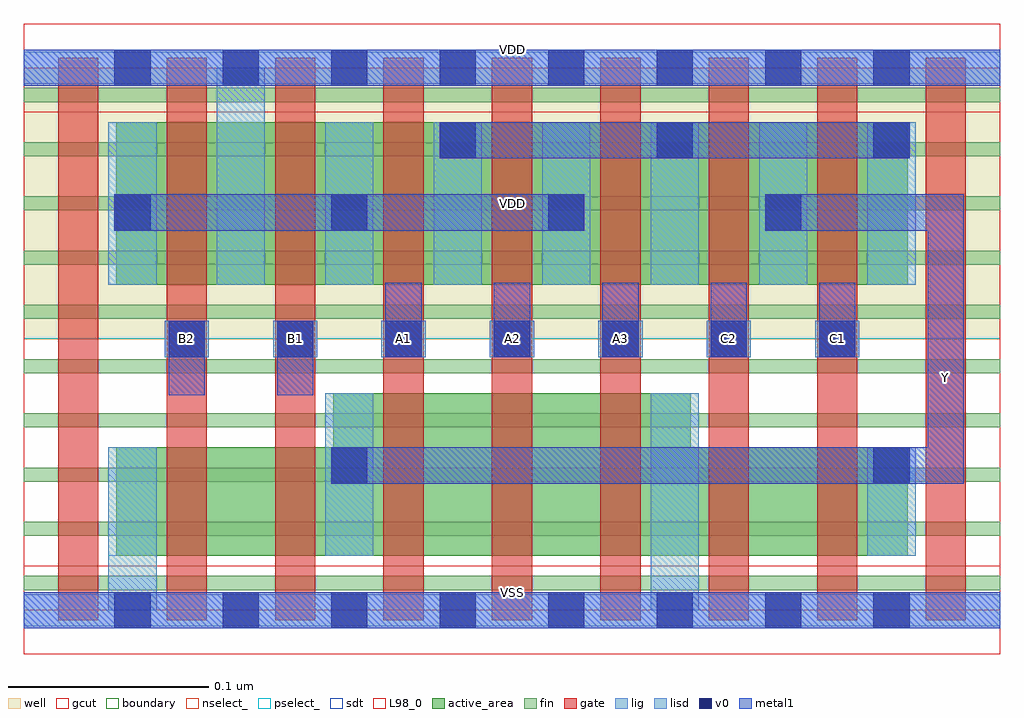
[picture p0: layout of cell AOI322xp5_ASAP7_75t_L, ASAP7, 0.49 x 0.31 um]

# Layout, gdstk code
import gdstk
lib = gdstk.Library(unit=1e-6, precision=2.5e-10)
def R(c, l, rs):  # rectangles x0, y0, x1, y1
    for r in rs: c.add(gdstk.rectangle(r[:2], r[2:], *l))
def A(c, l, x, y, w, h, nx, ny, dx, dy):  # array of equal rectangles
    R(c, l, [(x+i*dx, y+j*dy, x+i*dx+w, y+j*dy+h) for i in range(nx) for j in range(ny)])
def P(c, l, *ps):  # polygons
    for p in ps: c.add(gdstk.Polygon(p, *l))
well = (1, 0)
fin = (2, 0)
gate = (7, 0)
gcut = (10, 0)
active_area = (11, 0)
nselect_ = (12, 0)
pselect_ = (13, 0)
lig = (16, 0)
lisd = (17, 0)
v0 = (18, 0)
metal1 = (19, 0)
sdt = (88, 0)
L98_0 = (98, 0)
boundary = (100, 0)

aoi322xp5_asap7_75t_l = lib.new_cell('AOI322xp5_ASAP7_75t_L')
R(aoi322xp5_asap7_75t_l, well, [(0,0.135,0.486,0.27)])
A(aoi322xp5_asap7_75t_l, fin, 0, 0.01, 0.486, 0.007, 1, 10, 0, 0.027)
A(aoi322xp5_asap7_75t_l, gate, 0.017, -0.005, 0.02, 0.28, 9, 1, 0.054, 0)
R(aoi322xp5_asap7_75t_l, gcut, [(0,-0.022,0.486,0.022), (0,0.248,0.486,0.292)])
R(aoi322xp5_asap7_75t_l, active_area, [(0.046,0.162,0.44,0.243)])
P(aoi322xp5_asap7_75t_l, active_area, [(0.332,0.108),(0.154,0.108),(0.154,0.081),(0.046,0.081),(0.046,0.027),(0.44,0.027),(0.44,0.081),(0.332,0.081)])
R(aoi322xp5_asap7_75t_l, nselect_, [(0,0,0.486,0.135)])
R(aoi322xp5_asap7_75t_l, pselect_, [(0,0.135,0.486,0.27)])
A(aoi322xp5_asap7_75t_l, lig, 0.07, 0.126, 0.022, 0.018, 7, 1, 0.054, 0)
R(aoi322xp5_asap7_75t_l, lig, [(0,-0.008,0.486,0.008), (0,0.262,0.486,0.278)])
A(aoi322xp5_asap7_75t_l, lisd, 0.15, 0.162, 0.024, 0.081, 6, 1, 0.054, 0)
R(aoi322xp5_asap7_75t_l, lisd, [(0.042,0,0.066,0.081), (0.042,0,0.066,0.081), (0.312,0,0.336,0.108), (0.312,0,0.336,0.108), (0.15,0.027,0.174,0.108), (0.42,0.027,0.444,0.081), (0.042,0.162,0.066,0.243), (0.096,0.162,0.12,0.27), (0.096,0.162,0.12,0.27)])
A(aoi322xp5_asap7_75t_l, v0, 0.045, -0.009, 0.018, 0.018, 8, 2, 0.054, 0.27)
A(aoi322xp5_asap7_75t_l, v0, 0.072, 0.126, 0.018, 0.018, 7, 1, 0.054, 0)
A(aoi322xp5_asap7_75t_l, v0, 0.045, 0.189, 0.018, 0.018, 4, 1, 0.108, 0)
A(aoi322xp5_asap7_75t_l, v0, 0.207, 0.225, 0.018, 0.018, 3, 1, 0.108, 0)
R(aoi322xp5_asap7_75t_l, v0, [(0.153,0.063,0.171,0.081), (0.423,0.063,0.441,0.081)])
A(aoi322xp5_asap7_75t_l, metal1, 0.072, 0.126, 0.018, 0.018, 7, 1, 0.054, 0)
A(aoi322xp5_asap7_75t_l, metal1, 0.18, 0.126, 0.018, 0.037, 5, 1, 0.054, 0)
A(aoi322xp5_asap7_75t_l, metal1, 0.045, 0.189, 0.018, 0.018, 4, 1, 0.108, 0)
A(aoi322xp5_asap7_75t_l, metal1, 0.207, 0.225, 0.018, 0.018, 3, 1, 0.108, 0)
R(aoi322xp5_asap7_75t_l, metal1, [(0,-0.009,0.486,0.009), (0.153,0.063,0.171,0.081), (0.423,0.063,0.441,0.081), (0.072,0.107,0.09,0.144), (0.126,0.107,0.144,0.144), (0.045,0.189,0.279,0.207), (0.207,0.225,0.441,0.243), (0,0.261,0.486,0.279)])
P(aoi322xp5_asap7_75t_l, metal1, [(0.369,0.207),(0.369,0.189),(0.45,0.189),(0.45,0.081),(0.153,0.081),(0.153,0.063),(0.468,0.063),(0.468,0.207)])
A(aoi322xp5_asap7_75t_l, sdt, 0.096, 0.162, 0.024, 0.081, 7, 1, 0.054, 0)
R(aoi322xp5_asap7_75t_l, sdt, [(0.042,0.027,0.066,0.081), (0.042,0.027,0.066,0.081), (0.15,0.027,0.174,0.108), (0.312,0.027,0.336,0.108), (0.312,0.027,0.336,0.108), (0.42,0.027,0.444,0.081), (0.042,0.162,0.066,0.243), (0.096,0.162,0.12,0.243)])
R(aoi322xp5_asap7_75t_l, L98_0, [(0,0,0.486,0.27)])
R(aoi322xp5_asap7_75t_l, boundary, [(0,0,0.486,0.27)])
aoi322xp5_asap7_75t_l.add(gdstk.Label('VDD', (0.243,0.2025), layer=1, texttype=251))
aoi322xp5_asap7_75t_l.add(gdstk.Label('VSS', (0.243,-0.0675), layer=3, texttype=251))
aoi322xp5_asap7_75t_l.add(gdstk.Label('VSS', (0.243,0.009), layer=19, texttype=251))
aoi322xp5_asap7_75t_l.add(gdstk.Label('VDD', (0.243,0.279), layer=19, texttype=251))
aoi322xp5_asap7_75t_l.add(gdstk.Label('B2', (0.081,0.135), layer=19, texttype=251))
aoi322xp5_asap7_75t_l.add(gdstk.Label('B1', (0.135,0.135), layer=19, texttype=251))
aoi322xp5_asap7_75t_l.add(gdstk.Label('Y', (0.459,0.116), layer=19, texttype=251))
aoi322xp5_asap7_75t_l.add(gdstk.Label('A1', (0.189,0.135), layer=19, texttype=251))
aoi322xp5_asap7_75t_l.add(gdstk.Label('A2', (0.243,0.135), layer=19, texttype=251))
aoi322xp5_asap7_75t_l.add(gdstk.Label('A3', (0.297,0.135), layer=19, texttype=251))
aoi322xp5_asap7_75t_l.add(gdstk.Label('C2', (0.351,0.135), layer=19, texttype=251))
aoi322xp5_asap7_75t_l.add(gdstk.Label('C1', (0.405,0.135), layer=19, texttype=251))

lib.write_gds('AOI322xp5_ASAP7_75t_L.gds')
